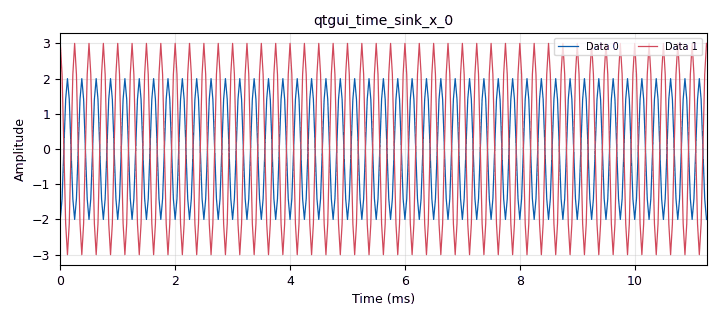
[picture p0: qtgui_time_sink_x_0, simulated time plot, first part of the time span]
<?xml version='1.0' encoding='utf-8'?>
<?grc format='1' created='3.7.9'?>
<flow_graph>
<block>
<key>options</key>
<param><key>id</key><value>top_block</value></param>
<param><key>category</key><value>Custom</value></param>
<param><key>generate_options</key><value>qt_gui</value></param>
</block>
<block>
<key>variable</key>
<param><key>id</key><value>samp_rate</value></param>
<param><key>value</key><value>32000</value></param>
</block>
<block>
<key>analog_sig_source_x</key>
<param><key>id</key><value>analog_sig_source_x_0</value></param>
<param><key>amp</key><value>1</value></param>
<param><key>freq</key><value>4000</value></param>
<param><key>offset</key><value>0</value></param>
<param><key>type</key><value>float</value></param>
<param><key>samp_rate</key><value>samp_rate</value></param>
<param><key>waveform</key><value>analog.GR_COS_WAVE</value></param>
</block>
<block>
<key>analog_sig_source_x</key>
<param><key>id</key><value>analog_sig_source_x_0_0</value></param>
<param><key>amp</key><value>1</value></param>
<param><key>freq</key><value>4000</value></param>
<param><key>offset</key><value>0</value></param>
<param><key>type</key><value>float</value></param>
<param><key>samp_rate</key><value>samp_rate</value></param>
<param><key>waveform</key><value>analog.GR_COS_WAVE</value></param>
</block>
<block>
<key>analog_sig_source_x</key>
<param><key>id</key><value>analog_sig_source_x_0_1</value></param>
<param><key>amp</key><value>1</value></param>
<param><key>freq</key><value>4000</value></param>
<param><key>offset</key><value>0</value></param>
<param><key>type</key><value>float</value></param>
<param><key>samp_rate</key><value>samp_rate</value></param>
<param><key>waveform</key><value>analog.GR_COS_WAVE</value></param>
</block>
<block>
<key>blocks_add_xx</key>
<param><key>id</key><value>blocks_add_xx_0</value></param>
<param><key>type</key><value>float</value></param>
<param><key>num_inputs</key><value>3</value></param>
</block>
<block>
<key>blocks_add_xx</key>
<param><key>id</key><value>blocks_add_xx_0_0</value></param>
<param><key>type</key><value>float</value></param>
<param><key>num_inputs</key><value>3</value></param>
</block>
<block>
<key>blocks_delay</key>
<param><key>id</key><value>blocks_delay_0</value></param>
<param><key>delay</key><value>4</value></param>
<param><key>type</key><value>float</value></param>
</block>
<block>
<key>blocks_delay</key>
<param><key>id</key><value>blocks_delay_0_0</value></param>
<param><key>delay</key><value>4</value></param>
<param><key>type</key><value>float</value></param>
</block>
<block>
<key>blocks_delay</key>
<param><key>id</key><value>blocks_delay_0_1</value></param>
<param><key>delay</key><value>4</value></param>
<param><key>type</key><value>float</value></param>
</block>
<block>
<key>blocks_multiply_const_vxx</key>
<param><key>id</key><value>blocks_multiply_const_vxx_0</value></param>
<param><key>const</key><value>1</value></param>
<param><key>type</key><value>float</value></param>
</block>
<block>
<key>blocks_multiply_const_vxx</key>
<param><key>id</key><value>blocks_multiply_const_vxx_0_0</value></param>
<param><key>const</key><value>1</value></param>
<param><key>type</key><value>float</value></param>
</block>
<block>
<key>blocks_multiply_const_vxx</key>
<param><key>id</key><value>blocks_multiply_const_vxx_0_1</value></param>
<param><key>const</key><value>0</value></param>
<param><key>type</key><value>float</value></param>
</block>
<block>
<key>blocks_throttle</key>
<param><key>id</key><value>blocks_throttle_0</value></param>
<param><key>samples_per_second</key><value>samp_rate</value></param>
<param><key>type</key><value>float</value></param>
</block>
<block>
<key>qtgui_time_sink_x</key>
<param><key>id</key><value>qtgui_time_sink_x_0</value></param>
<param><key>autoscale</key><value>True</value></param>
<param><key>color1</key><value>"blue"</value></param>
<param><key>label1</key><value></value></param>
<param><key>color2</key><value>"red"</value></param>
<param><key>label2</key><value></value></param>
<param><key>nconnections</key><value>2</value></param>
<param><key>size</key><value>1024</value></param>
<param><key>srate</key><value>samp_rate</value></param>
<param><key>type</key><value>float</value></param>
</block>
<connection><source_block_id>analog_sig_source_x_0</source_block_id><sink_block_id>blocks_throttle_0</sink_block_id><source_key>0</source_key><sink_key>0</sink_key></connection>
<connection><source_block_id>analog_sig_source_x_0_0</source_block_id><sink_block_id>blocks_add_xx_0</sink_block_id><source_key>0</source_key><sink_key>1</sink_key></connection>
<connection><source_block_id>analog_sig_source_x_0_0</source_block_id><sink_block_id>blocks_multiply_const_vxx_0_0</sink_block_id><source_key>0</source_key><sink_key>0</sink_key></connection>
<connection><source_block_id>analog_sig_source_x_0_1</source_block_id><sink_block_id>blocks_add_xx_0</sink_block_id><source_key>0</source_key><sink_key>2</sink_key></connection>
<connection><source_block_id>analog_sig_source_x_0_1</source_block_id><sink_block_id>blocks_multiply_const_vxx_0_1</sink_block_id><source_key>0</source_key><sink_key>0</sink_key></connection>
<connection><source_block_id>blocks_add_xx_0</source_block_id><sink_block_id>qtgui_time_sink_x_0</sink_block_id><source_key>0</source_key><sink_key>1</sink_key></connection>
<connection><source_block_id>blocks_add_xx_0_0</source_block_id><sink_block_id>qtgui_time_sink_x_0</sink_block_id><source_key>0</source_key><sink_key>0</sink_key></connection>
<connection><source_block_id>blocks_delay_0</source_block_id><sink_block_id>blocks_add_xx_0_0</sink_block_id><source_key>0</source_key><sink_key>0</sink_key></connection>
<connection><source_block_id>blocks_delay_0_0</source_block_id><sink_block_id>blocks_add_xx_0_0</sink_block_id><source_key>0</source_key><sink_key>1</sink_key></connection>
<connection><source_block_id>blocks_delay_0_1</source_block_id><sink_block_id>blocks_add_xx_0_0</sink_block_id><source_key>0</source_key><sink_key>2</sink_key></connection>
<connection><source_block_id>blocks_multiply_const_vxx_0</source_block_id><sink_block_id>blocks_delay_0</sink_block_id><source_key>0</source_key><sink_key>0</sink_key></connection>
<connection><source_block_id>blocks_multiply_const_vxx_0_0</source_block_id><sink_block_id>blocks_delay_0_0</sink_block_id><source_key>0</source_key><sink_key>0</sink_key></connection>
<connection><source_block_id>blocks_multiply_const_vxx_0_1</source_block_id><sink_block_id>blocks_delay_0_1</sink_block_id><source_key>0</source_key><sink_key>0</sink_key></connection>
<connection><source_block_id>blocks_throttle_0</source_block_id><sink_block_id>blocks_add_xx_0</sink_block_id><source_key>0</source_key><sink_key>0</sink_key></connection>
<connection><source_block_id>blocks_throttle_0</source_block_id><sink_block_id>blocks_multiply_const_vxx_0</sink_block_id><source_key>0</source_key><sink_key>0</sink_key></connection>
</flow_graph>
